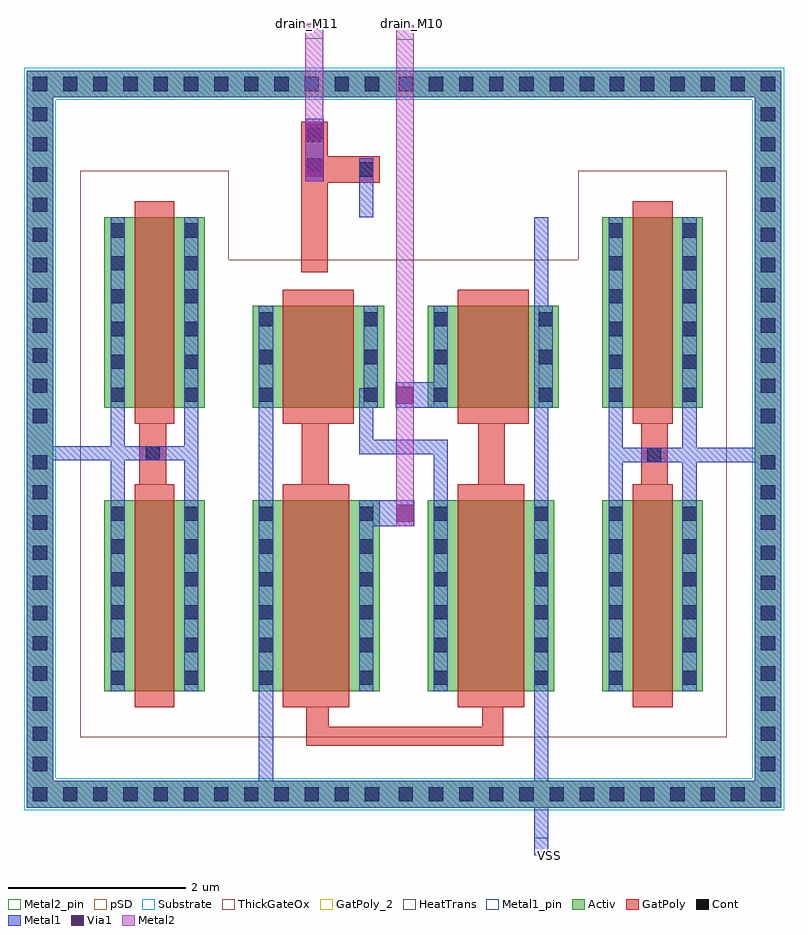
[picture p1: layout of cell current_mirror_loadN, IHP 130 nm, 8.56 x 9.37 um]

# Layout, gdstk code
from math import pi, radians
import gdstk
lib = gdstk.Library(unit=1e-6, precision=5e-09)
def R(c, l, rs):  # rectangles x0, y0, x1, y1
    for r in rs: c.add(gdstk.rectangle(r[:2], r[2:], *l))
def A(c, l, x, y, w, h, nx, ny, dx, dy):  # array of equal rectangles
    R(c, l, [(x+i*dx, y+j*dy, x+i*dx+w, y+j*dy+h) for i in range(nx) for j in range(ny)])
def P(c, l, *ps):  # polygons
    for p in ps: c.add(gdstk.Polygon(p, *l))
Activ = (1, 0)
GatPoly = (5, 0)
GatPoly_2 = (5, 2)
Cont = (6, 0)
Metal1 = (8, 0)
Metal1_pin = (8, 2)
Metal2 = (10, 0)
Metal2_pin = (10, 2)
pSD = (14, 0)
Via1 = (19, 0)
Substrate = (40, 0)
ThickGateOx = (44, 0)
HeatTrans = (51, 0)

nmoshv_2 = lib.new_cell('nmosHV$2')
R(nmoshv_2, Activ, [(0,0,0.3,0.3), (0,0,1.48,1.15), (1.18,0,1.48,0.3)])
R(nmoshv_2, GatPoly, [(0.34,-0.18,1.14,1.33)])
R(nmoshv_2, GatPoly_2, [(0.34,-0.18,1.14,1.33)])
A(nmoshv_2, Cont, 0.07, 0.07, 0.16, 0.16, 1, 3, 0, 0.425)
A(nmoshv_2, Cont, 1.25, 0.07, 0.16, 0.16, 1, 3, 0, 0.425)
R(nmoshv_2, Metal1, [(0.07,0,0.23,1.15), (1.25,0,1.41,1.15)])
R(nmoshv_2, Metal1_pin, [(0.07,0,0.23,1.15), (1.25,0,1.41,1.15)])
R(nmoshv_2, ThickGateOx, [(-0.27,-0.52,1.75,1.67)])
R(nmoshv_2, HeatTrans, [(0.34,-0.18,1.14,1.33)])
nmoshv_2.add(gdstk.Label('nmosHV', (0.74,0.575), layer=63, texttype=0))
nmoshv_2.add(gdstk.Label('nmosHV', (0.74,0.575), layer=51, texttype=0))

nmoshv_1 = lib.new_cell('nmosHV$1')
R(nmoshv_1, Activ, [(0,0,0.3,0.3), (0,0,1.13,2.15), (0.83,0,1.13,0.3)])
R(nmoshv_1, GatPoly, [(0.34,-0.18,0.79,2.33)])
R(nmoshv_1, GatPoly_2, [(0.34,-0.18,0.79,2.33)])
A(nmoshv_1, Cont, 0.07, 0.07, 0.16, 0.16, 1, 6, 0, 0.37)
A(nmoshv_1, Cont, 0.9, 0.07, 0.16, 0.16, 1, 6, 0, 0.37)
R(nmoshv_1, Metal1, [(0.07,0,0.23,2.15), (0.9,0,1.06,2.15)])
R(nmoshv_1, Metal1_pin, [(0.07,0,0.23,2.15), (0.9,0,1.06,2.15)])
R(nmoshv_1, ThickGateOx, [(-0.27,-0.52,1.4,2.67)])
R(nmoshv_1, HeatTrans, [(0.34,-0.18,0.79,2.33)])
nmoshv_1.add(gdstk.Label('nmosHV', (0.565,1.075), layer=63, texttype=0))
nmoshv_1.add(gdstk.Label('nmosHV', (0.565,1.075), layer=51, texttype=0))

nmoshv_3 = lib.new_cell('nmosHV$3')
R(nmoshv_3, Activ, [(0,0,0.3,0.3), (0,0,1.43,2.15), (1.13,0,1.43,0.3)])
R(nmoshv_3, GatPoly, [(0.34,-0.18,1.09,2.33)])
R(nmoshv_3, GatPoly_2, [(0.34,-0.18,1.09,2.33)])
A(nmoshv_3, Cont, 0.07, 0.07, 0.16, 0.16, 1, 6, 0, 0.37)
A(nmoshv_3, Cont, 1.2, 0.07, 0.16, 0.16, 1, 6, 0, 0.37)
R(nmoshv_3, Metal1, [(0.07,0,0.23,2.15), (1.2,0,1.36,2.15)])
R(nmoshv_3, Metal1_pin, [(0.07,0,0.23,2.15), (1.2,0,1.36,2.15)])
R(nmoshv_3, ThickGateOx, [(-0.27,-0.52,1.7,2.67)])
R(nmoshv_3, HeatTrans, [(0.34,-0.18,1.09,2.33)])
nmoshv_3.add(gdstk.Label('nmosHV', (0.715,1.075), layer=63, texttype=0))
nmoshv_3.add(gdstk.Label('nmosHV', (0.715,1.075), layer=51, texttype=0))

via_stack = lib.new_cell('via_stack')
R(via_stack, Metal1, [(-0.145,-0.105,0.145,0.105)])
R(via_stack, Metal2, [(-0.145,-0.1,0.145,0.1)])
R(via_stack, Via1, [(-0.095,-0.095,0.095,0.095)])

via_stack_5 = lib.new_cell('via_stack$5')
R(via_stack_5, GatPoly, [(-0.15,-0.15,0.15,0.15)])
R(via_stack_5, Cont, [(-0.08,-0.08,0.08,0.08)])
R(via_stack_5, Metal1, [(-0.13,-0.08,0.13,0.08)])

via_stack_3 = lib.new_cell('via_stack$3')
R(via_stack_3, GatPoly, [(-0.32,-0.15,0.32,0.15)])
R(via_stack_3, Cont, [(-0.25,-0.08,-0.09,0.08), (0.09,-0.08,0.25,0.08)])
R(via_stack_3, Metal1, [(-0.35,-0.105,0.35,0.105)])
R(via_stack_3, Metal2, [(-0.35,-0.1,0.35,0.1)])
R(via_stack_3, Via1, [(-0.3,-0.095,-0.11,0.095), (0.11,-0.095,0.3,0.095)])

guard_ring_2 = lib.new_cell('guard_ring$2')
R(guard_ring_2, Activ, [(-4.25,-3.85,-3.95,3.85), (3.95,-3.85,4.25,3.85), (-4.25,3.85,4.25,4.15)])
P(guard_ring_2, Activ, [(-4.25,-4.15),(-4.25,3.85),(-3.95,3.85),(-3.95,-3.85),(3.95,-3.85),(3.95,3.85),(-4.25,3.85),(-4.25,4.15),(4.25,4.15),(4.25,-4.15)])
A(guard_ring_2, Cont, -4.18, -4.08, 0.16, 0.16, 12, 2, 0.34, 8)
A(guard_ring_2, Cont, -0.06, -4.08, 0.16, 0.16, 13, 2, 0.34, 8)
A(guard_ring_2, Cont, -4.18, -3.74, 0.16, 0.16, 1, 11, 0, 0.34)
A(guard_ring_2, Cont, 4.02, -3.74, 0.16, 0.16, 1, 11, 0, 0.34)
A(guard_ring_2, Cont, -4.18, 0.18, 0.16, 0.16, 1, 11, 0, 0.34)
A(guard_ring_2, Cont, 4.02, 0.18, 0.16, 0.16, 1, 11, 0, 0.34)
R(guard_ring_2, Metal1, [(-4.25,-4.15,4.25,-3.85), (-4.25,-3.85,-3.95,3.85), (3.95,-3.85,4.25,3.85), (-4.25,3.85,4.25,4.15)])
R(guard_ring_2, pSD, [(-4.28,-3.82,-3.92,3.82), (3.92,-3.82,4.28,3.82), (-4.28,3.82,4.28,4.18)])
P(guard_ring_2, pSD, [(-4.28,-4.18),(-4.28,3.82),(-3.92,3.82),(-3.92,-3.82),(3.92,-3.82),(3.92,3.82),(-4.28,3.82),(-4.28,4.18),(4.28,4.18),(4.28,-4.18)])
R(guard_ring_2, Substrate, [(-4.28,-3.82,-3.92,3.82), (3.92,-3.82,4.28,3.82), (-4.28,3.82,4.28,4.18)])
P(guard_ring_2, Substrate, [(-4.28,-4.18),(-4.28,3.82),(-3.92,3.82),(-3.92,-3.82),(3.92,-3.82),(3.92,3.82),(-4.28,3.82),(-4.28,4.18),(4.28,4.18),(4.28,-4.18)])
guard_ring_2.add(gdstk.Label('sub!', (0,-4), layer=63, texttype=0))

current_mirror_loadn = lib.new_cell('current_mirror_loadN')
R(current_mirror_loadn, GatPoly, [(-0.52,-3.135,-0.265,-1.875), (-0.52,-3.135,1.7,-2.92), (1.46,-3.04,1.7,-1.975), (-0.57,-1.03,-0.27,1.115), (1.415,-1.015,1.715,1.19), (-2.4,-0.97,-2.1,0.31), (3.25,-0.815,3.55,1.105), (3.25,-0.01,3.55,0.67), (-2.4,0.01,-2.1,1.275), (-0.58,2.2,-0.28,3.895), (-0.58,3.205,0.305,3.505)])
R(current_mirror_loadn, Metal1, [(2.045,-4.37,2.205,2.82), (-1.055,-3.83,-0.895,-2.37), (0.075,-0.66,0.695,-0.37), (-2.725,-0.6,-2.565,0.9), (0.915,-0.6,1.075,0.315), (2.885,-0.6,3.045,0.9), (3.715,-0.6,3.875,0.9), (-1.895,-0.53,-1.735,0.97), (-1.055,-0.52,-0.895,0.82), (2.885,0.06,3.53,0.22), (3.27,0.06,4.83,0.22), (-3.67,0.08,-1.735,0.24), (0.075,0.15,0.235,0.895), (0.075,0.15,1.075,0.315), (0.49,0.67,1.075,0.96), (0.075,2.82,0.235,3.325)])
R(current_mirror_loadn, Metal1_pin, [(2.045,-4.37,2.205,-4.17)])
R(current_mirror_loadn, Metal2, [(0.49,-0.66,0.69,0.96), (0.49,0.67,0.69,4.98), (-0.53,3.225,-0.33,5)])
R(current_mirror_loadn, Metal2_pin, [(0.49,4.82,0.69,4.98), (-0.53,4.83,-0.33,5)])
current_mirror_loadn.add(gdstk.Reference(nmoshv_2, (0.845,0.67)))
current_mirror_loadn.add(gdstk.Reference(nmoshv_2, (-1.125,0.67)))
current_mirror_loadn.add(gdstk.Reference(nmoshv_1, (2.815,0.67)))
current_mirror_loadn.add(gdstk.Reference(nmoshv_1, (2.815,-2.52)))
current_mirror_loadn.add(gdstk.Reference(nmoshv_1, (-2.795,0.67)))
current_mirror_loadn.add(gdstk.Reference(nmoshv_1, (-2.795,-2.52)))
current_mirror_loadn.add(gdstk.Reference(nmoshv_3, (-1.125,-2.52)))
current_mirror_loadn.add(gdstk.Reference(via_stack, (0.59,-0.515), rotation=3*pi/2))
current_mirror_loadn.add(gdstk.Reference(nmoshv_3, (0.845,-2.52)))
current_mirror_loadn.add(gdstk.Reference(via_stack_5, (3.4,0.14)))
current_mirror_loadn.add(gdstk.Reference(via_stack_5, (-2.25,0.16)))
current_mirror_loadn.add(gdstk.Reference(via_stack, (0.59,0.815), rotation=3*pi/2))
current_mirror_loadn.add(gdstk.Reference(via_stack_5, (0.155,3.355), rotation=3*pi/2))
current_mirror_loadn.add(gdstk.Reference(via_stack_3, (-0.43,3.575), rotation=3*pi/2))
current_mirror_loadn.add(gdstk.Reference(guard_ring_2, (0.58,0.32)))
current_mirror_loadn.add(gdstk.Label('VSS', (2.22,-4.365), layer=8, texttype=0))
current_mirror_loadn.add(gdstk.Label('drain_M11', (-0.51,5), layer=10, texttype=0))
current_mirror_loadn.add(gdstk.Label('drain_M10', (0.675,5), layer=10, texttype=0))

lib.write_gds('current_mirror_loadN.gds')
